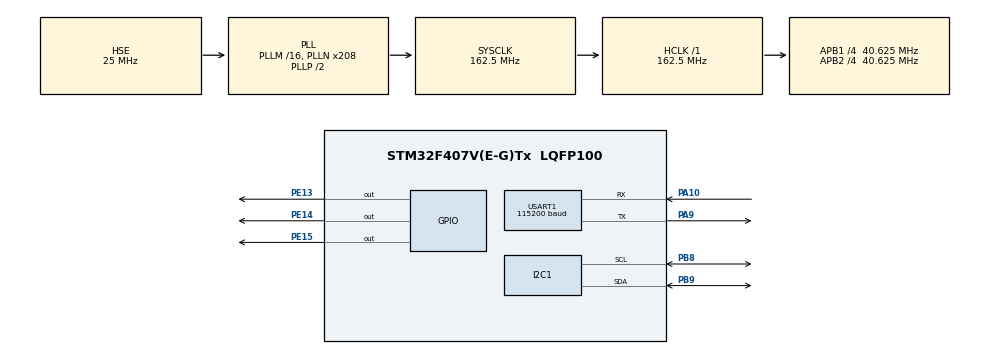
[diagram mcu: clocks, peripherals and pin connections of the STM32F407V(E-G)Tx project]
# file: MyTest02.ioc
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FREERTOS.INCLUDE_uxTaskGetStackHighWaterMark=1
FREERTOS.Mutexes01=logMutex,Dynamic,NULL,Available
FREERTOS.Tasks01=defaultTask,24,256,defaultTaskEntry,Default,NULL,Dynamic,NULL,NULL
FREERTOS.configCHECK_FOR_STACK_OVERFLOW=1
FREERTOS.configMINIMAL_STACK_SIZE=256
FREERTOS.configTOTAL_HEAP_SIZE=98304
FREERTOS.configUSE_MALLOC_FAILED_HOOK=1
FREERTOS.configUSE_NEWLIB_REENTRANT=1
Mcu.Family=STM32F4
Mcu.Name=STM32F407V(E-G)Tx
Mcu.Package=LQFP100
NVIC.PriorityGroup=NVIC_PRIORITYGROUP_4
NVIC.TIM1_UP_TIM10_IRQn=true\:0\:0\:false\:false\:true\:false\:false\:true\:true
NVIC.TimeBase=TIM1_UP_TIM10_IRQn
NVIC.TimeBaseIP=TIM1
NVIC.USART1_IRQn=true\:5\:0\:true\:false\:true\:true\:true\:true\:true
PA10.GPIO_PuPd=GPIO_PULLUP
PA10.Mode=Asynchronous
PA10.Signal=USART1_RX
PA9.GPIO_PuPd=GPIO_PULLUP
PA9.Mode=Asynchronous
PA9.Signal=USART1_TX
PB8.GPIO_PuPdOD=GPIO_NOPULL
PB8.Mode=I2C
PB8.Signal=I2C1_SCL
PB9.GPIO_PuPdOD=GPIO_NOPULL
PB9.Mode=I2C
PB9.Signal=I2C1_SDA
PC14-OSC32_IN.Mode=LSE-External-Oscillator
PC14-OSC32_IN.Signal=RCC_OSC32_IN
PC15-OSC32_OUT.Mode=LSE-External-Oscillator
PC15-OSC32_OUT.Signal=RCC_OSC32_OUT
PE13.GPIO_PuPd=GPIO_PULLUP
PE13.Signal=GPIO_Output
PE14.GPIO_PuPd=GPIO_PULLUP
PE14.Signal=GPIO_Output
PE15.GPIO_PuPd=GPIO_PULLUP
PE15.Signal=GPIO_Output
PH0-OSC_IN.Mode=HSE-External-Oscillator
PH0-OSC_IN.Signal=RCC_OSC_IN
PH1-OSC_OUT.Mode=HSE-External-Oscillator
PH1-OSC_OUT.Signal=RCC_OSC_OUT
ProjectManager.HeapSize=0x400
ProjectManager.StackSize=0x400
ProjectManager.TargetToolchain=STM32CubeIDE
RCC.48MHZClocksFreq_Value=81250000
RCC.AHBFreq_Value=162500000
RCC.APB1CLKDivider=RCC_HCLK_DIV4
RCC.APB1Freq_Value=40625000
RCC.APB1TimFreq_Value=81250000
RCC.APB2CLKDivider=RCC_HCLK_DIV4
RCC.APB2Freq_Value=40625000
RCC.APB2TimFreq_Value=81250000
RCC.CortexFreq_Value=162500000
RCC.HCLKFreq_Value=162500000
RCC.HSE_VALUE=25000000
RCC.HSI_VALUE=16000000
RCC.PLLN=208
RCC.PLLSourceVirtual=RCC_PLLSOURCE_HSE
RCC.RCC_RTC_Clock_Source=RCC_RTCCLKSOURCE_LSE
RCC.RCC_RTC_Clock_Source_FROM_HSE=RCC_RTCCLKSOURCE_HSE_DIV25
RCC.SYSCLKFreq_VALUE=162500000
RCC.SYSCLKSource=RCC_SYSCLKSOURCE_PLLCLK
RCC.VCOOutputFreq_Value=325000000
RTC.Format=RTC_FORMAT_BIN
RTC.Hours=12
RTC.Minutes=12
RTC.Seconds=12
RTC.Year=20
TIM5.AutoReloadPreload=TIM_AUTORELOAD_PRELOAD_ENABLE
TIM5.Prescaler=40625
TIM5.TIM_MasterOutputTrigger=TIM_TRGO_UPDATE
USART1.BaudRate=115200
USART1.VirtualMode=VM_ASYNC
VP_CRC_VS_CRC.Mode=CRC_Activate
VP_FREERTOS_VS_CMSIS_V2.Mode=CMSIS_V2
VP_RTC_VS_RTC_Activate.Mode=RTC_Enabled
VP_RTC_VS_RTC_Calendar.Mode=RTC_Calendar
VP_SYS_VS_tim1.Mode=TIM1
VP_TIM5_VS_ClockSourceINT.Mode=Internal
VP_TIM8_VS_ClockSourceITR.Mode=TriggerSource_ITR3
VP_TIM8_VS_ControllerModeClock.Mode=Clock Mode
board=custom

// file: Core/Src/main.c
/* USER CODE BEGIN Header */
/**
  ******************************************************************************
  * @file           : main.c
  * @brief          : Main program body
  ******************************************************************************
  * @attention
  *
  * <h2><center>&copy; Copyright (c) 2025 STMicroelectronics.
  * All rights reserved.</center></h2>
  *
  * This software component is licensed by ST under Ultimate Liberty license
  * SLA0044, the "License"; You may not use this file except in compliance with
  * the License. You may obtain a copy of the License at:
  *                             www.st.com/SLA0044
  *
  ******************************************************************************
  */
/* USER CODE END Header */
#include "main.h"
#include "cmsis_os.h"
#include "crc.h"
#include "i2c.h"
#include "rtc.h"
#include "tim.h"
#include "usart.h"
#include "gpio.h"

/* USER CODE BEGIN Includes */
#include "board_led.h"
#include <string.h>
/* USER CODE END Includes */

/* USER CODE BEGIN PV */
uint8_t uartReceiveCache[64];

/* USER CODE END PV */

void SystemClock_Config(void);
void MX_FREERTOS_Init(void);

int main(void)
{

  /* MCU Configuration--------------------------------------------------------*/

  /* Reset of all peripherals, Initializes the Flash interface and the Systick. */
  HAL_Init();

  /* Configure the system clock */
  SystemClock_Config();

  /* Initialize all configured peripherals */
  MX_GPIO_Init();
  MX_I2C1_Init();
  MX_USART1_UART_Init();
  MX_RTC_Init();
  MX_TIM8_Init();
  MX_TIM5_Init();
  MX_CRC_Init();
  /* USER CODE BEGIN 2 */
  HAL_TIM_Base_Start(&htim5);
  HAL_TIM_Base_Start(&htim8);
  /* USER CODE END 2 */

  /* Init scheduler */
  osKernelInitialize();  /* Call init function for freertos objects (in freertos.c) */
  MX_FREERTOS_Init();
  /* Start scheduler */
  osKernelStart();

  /* We should never get here as control is now taken by the scheduler */
  /* Infinite loop */
  while (1)
  {

  }
}

void SystemClock_Config(void)
{
  RCC_OscInitTypeDef RCC_OscInitStruct = {0};
  RCC_ClkInitTypeDef RCC_ClkInitStruct = {0};
  RCC_PeriphCLKInitTypeDef PeriphClkInitStruct = {0};

  /** Configure the main internal regulator output voltage
  */
  __HAL_RCC_PWR_CLK_ENABLE();
  __HAL_PWR_VOLTAGESCALING_CONFIG(PWR_REGULATOR_VOLTAGE_SCALE1);
  /** Initializes the RCC Oscillators according to the specified parameters
  * in the RCC_OscInitTypeDef structure.
  */
  RCC_OscInitStruct.OscillatorType = RCC_OSCILLATORTYPE_HSE|RCC_OSCILLATORTYPE_LSE;
  RCC_OscInitStruct.HSEState = RCC_HSE_ON;
  RCC_OscInitStruct.LSEState = RCC_LSE_ON;
  RCC_OscInitStruct.PLL.PLLState = RCC_PLL_ON;
  RCC_OscInitStruct.PLL.PLLSource = RCC_PLLSOURCE_HSE;
  RCC_OscInitStruct.PLL.PLLM = 16;
  RCC_OscInitStruct.PLL.PLLN = 208;
  RCC_OscInitStruct.PLL.PLLP = RCC_PLLP_DIV2;
  RCC_OscInitStruct.PLL.PLLQ = 4;
  if (HAL_RCC_OscConfig(&RCC_OscInitStruct) != HAL_OK)
  {
    Error_Handler();
  }
  /** Initializes the CPU, AHB and APB buses clocks
  */
  RCC_ClkInitStruct.ClockType = RCC_CLOCKTYPE_HCLK|RCC_CLOCKTYPE_SYSCLK
                              |RCC_CLOCKTYPE_PCLK1|RCC_CLOCKTYPE_PCLK2;
  RCC_ClkInitStruct.SYSCLKSource = RCC_SYSCLKSOURCE_PLLCLK;
  RCC_ClkInitStruct.AHBCLKDivider = RCC_SYSCLK_DIV1;
  RCC_ClkInitStruct.APB1CLKDivider = RCC_HCLK_DIV4;
  RCC_ClkInitStruct.APB2CLKDivider = RCC_HCLK_DIV4;

  if (HAL_RCC_ClockConfig(&RCC_ClkInitStruct, FLASH_LATENCY_5) != HAL_OK)
  {
    Error_Handler();
  }
  PeriphClkInitStruct.PeriphClockSelection = RCC_PERIPHCLK_RTC;
  PeriphClkInitStruct.RTCClockSelection = RCC_RTCCLKSOURCE_LSE;
  if (HAL_RCCEx_PeriphCLKConfig(&PeriphClkInitStruct) != HAL_OK)
  {
    Error_Handler();
  }
}

/* USER CODE BEGIN 4 */
typedef union {
  struct {
    uint32_t low;
    uint32_t high;
  } tick_;
  uint64_t tick;
} SysTick_t;

int64_t GetSysTick(void)
{
  SysTick_t st0, st1;

  //�ȶ���λ���ٶ���λ���п��ܵõ���ֵ��С
  st0.tick_.high = __HAL_TIM_GetCounter(&htim8);
  st0.tick_.low = __HAL_TIM_GetCounter(&htim5);
  //�����Ҫ�ٶ�ȡһ��?, ����һ��Ҳ�п�����С
  st1.tick_.high = __HAL_TIM_GetCounter(&htim8);
  st1.tick_.low = __HAL_TIM_GetCounter(&htim5);
  if (st1.tick >= st0.tick)
  {
    return st1.tick;
  }
  else
  {
    return st0.tick;
  }
}

void WakeReceiveUartData(void)
{
  int rearPos = sizeof(uartReceiveCache) - __HAL_DMA_GET_COUNTER(huart1.hdmarx);
  if (rearPos >= 0)
  {
    //uart1_recv_rbuf.tail = (uint16_t)rearPos;
  }
}

/* USER CODE END 4 */

 /**
  * @brief  Period elapsed callback in non blocking mode
  * @note   This function is called  when TIM1 interrupt took place, inside
  * HAL_TIM_IRQHandler(). It makes a direct call to HAL_IncTick() to increment
  * a global variable "uwTick" used as application time base.
  * @param  htim : TIM handle
  * @retval None
  */
void HAL_TIM_PeriodElapsedCallback(TIM_HandleTypeDef *htim)
{
  if (htim->Instance == TIM1) {
    HAL_IncTick();
  }
}

void Error_Handler(void)
{
  __disable_irq();
  while (1)
  {
  }
}

/************************ (C) COPYRIGHT STMicroelectronics *****END OF FILE****/

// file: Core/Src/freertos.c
/* USER CODE BEGIN Header */
/**
  ******************************************************************************
  * File Name          : freertos.c
  * Description        : Code for freertos applications
  ******************************************************************************
  * @attention
  *
  * <h2><center>&copy; Copyright (c) 2025 STMicroelectronics.
  * All rights reserved.</center></h2>
  *
  * This software component is licensed by ST under Ultimate Liberty license
  * SLA0044, the "License"; You may not use this file except in compliance with
  * the License. You may obtain a copy of the License at:
  *                             www.st.com/SLA0044
  *
  ******************************************************************************
  */
/* USER CODE END Header */

#include "FreeRTOS.h"
#include "task.h"
#include "main.h"
#include "cmsis_os.h"

/* USER CODE BEGIN Includes */
#include "board_led.h"
/* USER CODE END Includes */

/* Definitions for defaultTask */
osThreadId_t defaultTaskHandle;
const osThreadAttr_t defaultTask_attributes = {
  .name = "defaultTask",
  .stack_size = 256 * 4,
  .priority = (osPriority_t) osPriorityNormal,
};
/* Definitions for logMutex */
osMutexId_t logMutexHandle;
const osMutexAttr_t logMutex_attributes = {
  .name = "logMutex"
};

void defaultTaskEntry(void *argument);

void MX_FREERTOS_Init(void); /* (MISRA C 2004 rule 8.1) */

/* Hook prototypes */
void vApplicationStackOverflowHook(xTaskHandle xTask, signed char *pcTaskName);
void vApplicationMallocFailedHook(void);

/* USER CODE BEGIN 4 */
void vApplicationStackOverflowHook(xTaskHandle xTask, signed char *pcTaskName)
{
   /* Run time stack overflow checking is performed if
   configCHECK_FOR_STACK_OVERFLOW is defined to 1 or 2. This hook function is
   called if a stack overflow is detected. */
}
/* USER CODE END 4 */

/* USER CODE BEGIN 5 */
void vApplicationMallocFailedHook(void)
{
   /* vApplicationMallocFailedHook() will only be called if
   configUSE_MALLOC_FAILED_HOOK is set to 1 in FreeRTOSConfig.h. It is a hook
   function that will get called if a call to pvPortMalloc() fails.
   pvPortMalloc() is called internally by the kernel whenever a task, queue,
   timer or semaphore is created. It is also called by various parts of the
   demo application. If heap_1.c or heap_2.c are used, then the size of the
   heap available to pvPortMalloc() is defined by configTOTAL_HEAP_SIZE in
   FreeRTOSConfig.h, and the xPortGetFreeHeapSize() API function can be used
   to query the size of free heap space that remains (although it does not
   provide information on how the remaining heap might be fragmented). */
}
/* USER CODE END 5 */

void MX_FREERTOS_Init(void) {
  /* Create the mutex(es) */
  /* creation of logMutex */
  logMutexHandle = osMutexNew(&logMutex_attributes);

  /* Create the thread(s) */
  /* creation of defaultTask */
  defaultTaskHandle = osThreadNew(defaultTaskEntry, NULL, &defaultTask_attributes);

}

/* USER CODE BEGIN Header_defaultTaskEntry */
/**
  * @brief  Function implementing the defaultTask thread.
  * @param  argument: Not used
  * @retval None
  */
extern void test_main(void);
/* USER CODE END Header_defaultTaskEntry */
void defaultTaskEntry(void *argument)
{
  /* USER CODE BEGIN defaultTaskEntry */
  /* Infinite loop */
  test_main();
  for(;;)
  {
    // 测试结束后，将回到这里闪灯
    BoardLed_Toggle(0);
    osDelay(50);
  }
  /* USER CODE END defaultTaskEntry */
}

/************************ (C) COPYRIGHT STMicroelectronics *****END OF FILE****/
